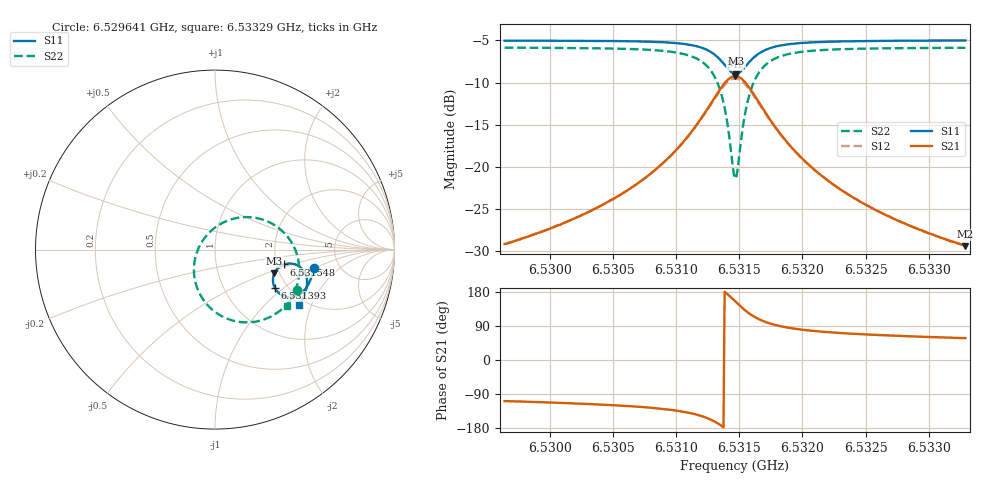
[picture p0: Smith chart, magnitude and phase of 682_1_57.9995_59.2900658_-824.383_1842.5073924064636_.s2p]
#  HZ  S  RI  R  50.00
! Rohde & Schwarz Vector Network Analyzer
! Rohde-Schwarz,ZNB20-2Port,1311601062101988,3.16
! Created: UTC 3/21/2024, 1:20:54 AM
! freq[Hz]  re:S11  im:S11  re:S21  im:S21  re:S12  im:S12  re:S22  im:S22
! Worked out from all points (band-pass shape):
!   401 points, 6.529641 GHz to 6.53329 GHz, reference 50 ohm
!   highest |S21| = -9.23 dB at 6.531465 GHz (marker M1); lowest = -29.4 dB at 6.53329 GHz (marker M2)
!   |S21| within 3 dB of the highest: 6.531285 GHz to 6.53165 GHz (364.9 kHz wide, 0.00559 % of centre)
!   lowest |S11| = -9.0 dB at 6.531475 GHz (marker M3), VSWR 2.11, Z = 94 - j28.3 ohm
!   |S11| at or under -10 dB: nowhere
!   |S22| runs from -21.4 to -5.9 dB; largest |S21 - S12| = 0.015
!   S11 on the Smith chart (normalised r, x): 6.529641 GHz: 3.23, -0.97; 6.531393 GHz: 1.72, -0.87; 6.531548 GHz: 2.19, -0.43; 6.53329 GHz: 1.83, -1.64
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6.5296409e9  0.5507 -0.1034  -0.011 -0.0332  -0.0117 -0.0328  0.4578 -0.2231
6.5302522e9  0.537 -0.1554  -0.0223 -0.047  -0.0235 -0.0464  0.4206 -0.2813
6.5305806e9  0.5241 -0.187  -0.036 -0.0602  -0.0376 -0.0594  0.3847 -0.3212
6.5308634e9  0.5041 -0.2193  -0.0618 -0.0793  -0.0642 -0.0772  0.3266 -0.3648
6.5310732e9  0.4735 -0.2474  -0.1074 -0.0984  -0.1103 -0.0944  0.2356 -0.3996
6.5312374e9  0.4202 -0.2643  -0.1905 -0.1003  -0.1922 -0.0919  0.0856 -0.3913
6.5313287e9  0.3693 -0.2514  -0.2684 -0.0613  -0.2654 -0.0496  -0.0411 -0.3097
6.5313651e9  0.3473 -0.2335  -0.3007 -0.0243  -0.2942 -0.0127  -0.0875 -0.2414
6.5313925e9  0.3333 -0.2135  -0.3195 0.0139  -0.3101 0.0246  -0.111 -0.1742
6.5314473e9  0.3234 -0.1597  -0.3249 0.1109  -0.3116 0.116  -0.1008 -0.0144
6.5314655e9  0.3276 -0.1407  -0.3139 0.1442  -0.3003 0.1469  -0.0768 0.0374
6.5314746e9  0.3313 -0.1313  -0.3059 0.16  -0.2925 0.1612  -0.0606 0.0615
6.5314929e9  0.3413 -0.1145  -0.2856 0.1881  -0.273 0.1874  -0.0227 0.1041
6.5315476e9  0.385 -0.0826  -0.2054 0.2408  -0.1971 0.236  0.1181 0.1755
6.531575e9  0.4083 -0.0775  -0.1644 0.2482  -0.1582 0.2434  0.1873 0.181
6.5316115e9  0.4358 -0.0795  -0.1166 0.2449  -0.1127 0.2404  0.2666 0.1668
6.5317027e9  0.481 -0.1034  -0.04 0.208  -0.0384 0.2056  0.39 0.0883
6.5318395e9  0.5069 -0.1433  0.00475 0.152  0.00602 0.1511  0.4552 -0.0228
6.5320767e9  0.513 -0.1909  0.022 0.0965  0.0231 0.096  0.4689 -0.1357
6.5323687e9  0.5062 -0.2288  0.0236 0.064  0.0246 0.0638  0.4547 -0.2078
6.532688e9  0.4949 -0.2598  0.0219 0.0461  0.0226 0.0456  0.4355 -0.2556
6.5332901e9  0.4706 -0.3066  0.0181 0.0288  0.0189 0.0286  0.4005 -0.3132
